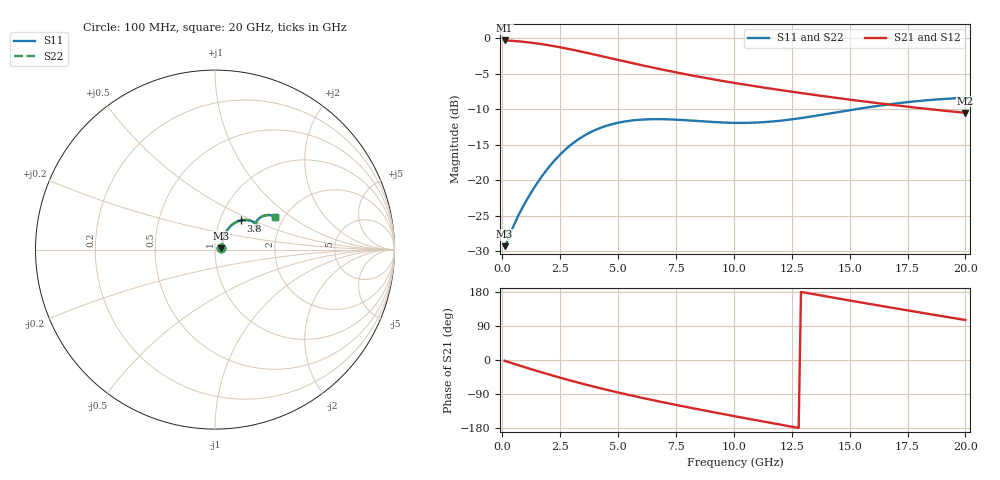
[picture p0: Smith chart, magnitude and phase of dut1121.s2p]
! Touchstone file exported from HFSS 2024.1.0
!  File:  C:/UserFiles/LocalFiles/RDL_TSV_Batchsim/temp_RDL_TSV_1121_1780106313.aedt
!  Generated:  10:11:29 AM May 30, 2026
!  Design:  RDL_TSV
!  Project:  temp_RDL_TSV_1121_1780106313
!  Setup:  Setup1
!  Solution:  Sweep
! Variables:
!  dtsv = 7.46um
!  hbump = 3um
!  htsv = 80.92um
!  ldown = 477.12um
!  lrdl = 571.78um
!  p = 40
!  p1 = 40.18um
!  rhole = 10um
!  subl = 3718.48um
!  t = 450um
!  tdown = 2.64um
!  trdl = 2.17um
!  viad = 10um
!  wdown = 20.02um
!  wrdl = 15.38um
!  xbump = 18um
# GHz S MA R 50.000000
! Terminal data exported
! Port[1] = TM1_1_T1
! Port[2] = TM1_4_T1
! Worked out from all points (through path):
!   200 points, 100 MHz to 20 GHz, reference 50 ohm
!   highest |S21| = -0.30 dB at 100 MHz (marker M1); lowest = -10.5 dB at 20 GHz (marker M2)
!   group delay of S21, straight-line fit = 33.8 ps
!   lowest |S11| = -29.3 dB at 100 MHz (marker M3), VSWR 1.07, Z = 53.5 + j0.688 ohm
!   |S11| at or under -10 dB: start of sweep to 15.22 GHz
!   |S22| runs from -29.3 to -8.3 dB; largest |S21 - S12| = 1.9e-14
!   S11 on the Smith chart (normalised r, x): 100 MHz: 1.07, +0.01; 3.8 GHz: 1.26, +0.43; 20 GHz: 1.80, +0.77
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0.1  0.03442 10.8  0.966 -2.0  0.966 -2.0  0.03442 10.8
! Gamma 0 0 0 0
! Port Impedance 50 0 50 0
0.5  0.04832 37.3  0.9585 -10.0  0.9585 -10.0  0.04831 37.4
0.9  0.06568 48.4  0.946 -17.7  0.946 -17.7  0.06568 48.4
1.4  0.09005 55.4  0.9253 -27.1  0.9253 -27.1  0.09007 55.5
1.8  0.1119 57.6  0.9053 -34.4  0.9053 -34.4  0.1119 57.7
2.6  0.1579 56.4  0.8584 -48.4  0.8584 -48.4  0.1581 56.5
3  0.1799 54.1  0.833 -55.1  0.833 -55.1  0.1801 54.2
3.5  0.2047 50.6  0.8004 -63.2  0.8004 -63.2  0.2051 50.7
3.8  0.2178 48.3  0.7807 -68.0  0.7807 -68.0  0.2182 48.3
4.5  0.2423 42.8  0.7357 -78.5  0.7357 -78.5  0.2428 42.8
5.3  0.26 37.0  0.6871 -89.9  0.6871 -89.9  0.2606 37.0
6  0.2677 32.7  0.648 -99.4  0.648 -99.4  0.2685 32.8
6.8  0.2698 29.0  0.6075 -109.7  0.6075 -109.7  0.2706 29.0
7.6  0.267 26.5  0.5716 -119.7  0.5716 -119.7  0.2679 26.5
8.4  0.2621 25.4  0.5397 -129.3  0.5397 -129.3  0.263 25.4
10.1  0.2541 26.9  0.4829 -149.1  0.4829 -149.1  0.255 26.9
11.7  0.26 31.0  0.4397 -167.1  0.4397 -167.1  0.2608 30.9
13.4  0.2826 34.5  0.4013 174.2  0.4013 174.2  0.2833 34.4
15.1  0.314 35.3  0.3686 156.0  0.3686 156.0  0.3148 35.2
16.7  0.3429 34.0  0.342 139.2  0.342 139.2  0.3439 33.9
18.3  0.366 31.5  0.3192 122.7  0.3192 122.7  0.3671 31.4
20  0.3816 28.5  0.2988 105.6  0.2988 105.6  0.383 28.4
